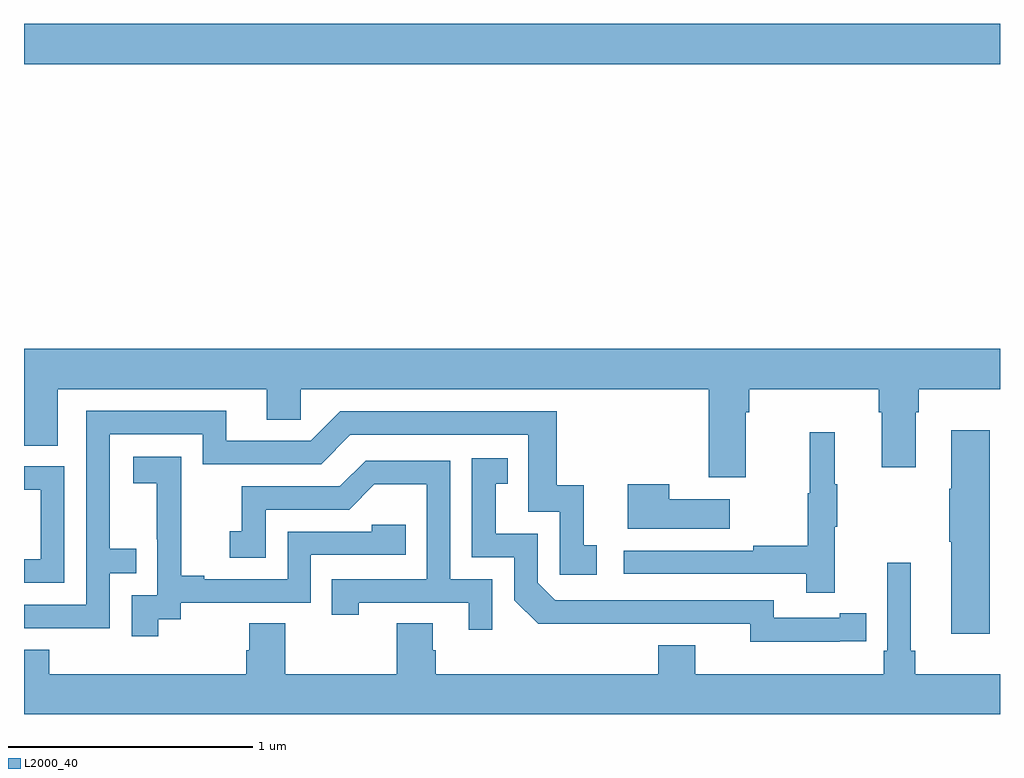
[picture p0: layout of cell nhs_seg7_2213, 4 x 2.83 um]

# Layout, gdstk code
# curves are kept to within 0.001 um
import gdstk
lib = gdstk.Library(unit=1e-6, precision=1e-09)
def R(c, l, rs):  # rectangles x0, y0, x1, y1
    for r in rs: c.add(gdstk.rectangle(r[:2], r[2:], *l))
def P(c, l, *ps):  # polygons
    for p in ps: c.add(gdstk.Polygon(p, *l))
L2000_40 = (2000, 40)

nhs_seg7_2213 = lib.new_cell('nhs_seg7_2213')
R(nhs_seg7_2213, L2000_40, [(255,1055.228,259,1055.392)])
P(nhs_seg7_2213, L2000_40, [(257.959,1053.8),(257.972,1053.8),(257.972,1053.896),(258.503,1053.896),(258.503,1053.8),(258.515,1053.8),(258.515,1053.576),(258.655,1053.576),(258.655,1053.8),(258.668,1053.8),(258.668,1053.896),(259,1053.896),(259,1054.06),(255,1054.06),(255,1053.664),(255.139,1053.664),(255.139,1053.896),(255.995,1053.896),(255.995,1053.769),(256.134,1053.769),(256.134,1053.896),(257.807,1053.896),(257.807,1053.534),(257.959,1053.534)],
  [(255.351,1053.141),(255.461,1053.141),(255.461,1053.242),(255.351,1053.242),(255.351,1053.711),(255.732,1053.711),(255.732,1053.588),(256.218,1053.588),(256.338,1053.708),(257.067,1053.708),(257.067,1053.393),(257.196,1053.393),(257.196,1053.135),(257.347,1053.135),(257.347,1053.255),(257.294,1053.255),(257.294,1053.502),(257.183,1053.502),(257.183,1053.804),(256.296,1053.804),(256.176,1053.684),(255.829,1053.684),(255.829,1053.807),(255.255,1053.807),(255.255,1053.012),(255,1053.012),(255,1052.916),(255.351,1052.916)],
  [(258.959,1053.727),(258.8,1053.727),(258.8,1053.488),(258.793,1053.488),(258.793,1053.271),(258.8,1053.271),(258.8,1052.892),(258.959,1052.892)],
  [(258.323,1053.331),(258.334,1053.331),(258.334,1053.505),(258.323,1053.505),(258.323,1053.718),(258.22,1053.718),(258.22,1053.468),(258.213,1053.468),(258.213,1053.254),(257.989,1053.254),(257.989,1053.234),(257.457,1053.234),(257.457,1053.138),(258.205,1053.138),(258.205,1053.06),(258.323,1053.06)],
  [(255.55,1052.953),(255.642,1052.953),(255.642,1053.021),(256.176,1053.021),(256.176,1053.216),(256.565,1053.216),(256.565,1053.339),(256.425,1053.339),(256.425,1053.312),(256.08,1053.312),(256.08,1053.117),(255.739,1053.117),(255.739,1053.13),(255.644,1053.13),(255.644,1053.413),(255.645,1053.413),(255.645,1053.619),(255.447,1053.619),(255.447,1053.509),(255.545,1053.509),(255.545,1053.281),(255.546,1053.281),(255.546,1053.051),(255.441,1053.051),(255.441,1052.883),(255.55,1052.883)],
  [(258.344,1052.862),(258.452,1052.862),(258.452,1052.978),(258.344,1052.978),(258.344,1052.958),(258.072,1052.958),(258.072,1053.03),(257.178,1053.03),(257.106,1053.102),(257.106,1053.303),(256.933,1053.303),(256.933,1053.507),(256.982,1053.507),(256.982,1053.613),(256.836,1053.613),(256.836,1053.207),(257.01,1053.207),(257.01,1053.03),(257.108,1052.933),(257.976,1052.934),(257.976,1052.861)],
  [(256.92,1053.117),(256.746,1053.117),(256.746,1053.603),(256.4,1053.603),(256.295,1053.498),(255.892,1053.498),(255.892,1053.313),(255.843,1053.313),(255.843,1053.204),(255.99,1053.204),(255.99,1053.402),(256.332,1053.402),(256.436,1053.506),(256.65,1053.506),(256.65,1053.117),(256.261,1053.117),(256.261,1052.97),(256.372,1052.97),(256.372,1053.021),(256.823,1053.021),(256.823,1052.91),(256.92,1052.91)],
  [(255.165,1053.579),(255,1053.579),(255,1053.483),(255.069,1053.483),(255.069,1053.198),(255,1053.198),(255,1053.102),(255.165,1053.102)],
  [(257.893,1053.445),(257.645,1053.445),(257.645,1053.505),(257.474,1053.505),(257.474,1053.323),(257.893,1053.323)],
  [(259,1052.728),(258.653,1052.728),(258.653,1052.824),(258.634,1052.824),(258.634,1053.184),(258.537,1053.184),(258.537,1052.824),(258.524,1052.824),(258.524,1052.728),(257.752,1052.728),(257.752,1052.845),(257.6,1052.845),(257.6,1052.728),(256.688,1052.728),(256.688,1052.826),(256.675,1052.826),(256.675,1052.936),(256.528,1052.936),(256.528,1052.728),(256.071,1052.728),(256.071,1052.936),(255.923,1052.936),(255.923,1052.826),(255.911,1052.826),(255.911,1052.728),(255.104,1052.728),(255.104,1052.827),(255,1052.827),(255,1052.564),(259,1052.564)])

lib.write_gds('nhs_seg7_2213.gds')
